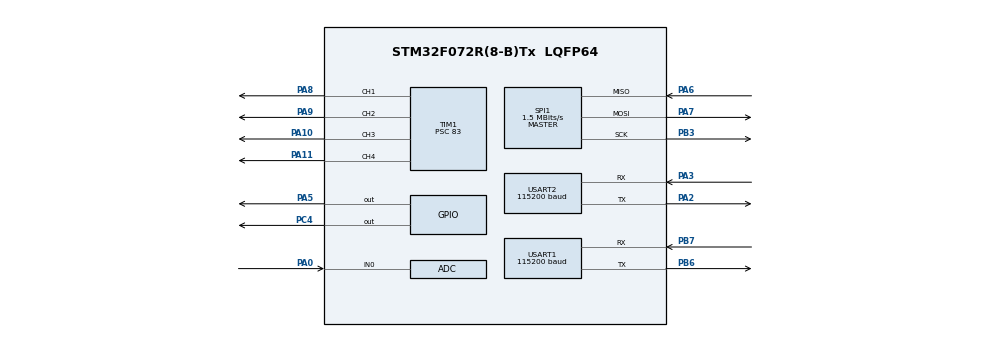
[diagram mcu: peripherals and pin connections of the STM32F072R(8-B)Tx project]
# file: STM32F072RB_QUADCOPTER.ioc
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ADC.SamplingTime=ADC_SAMPLETIME_239CYCLES_5
Mcu.Family=STM32F0
Mcu.Name=STM32F072R(8-B)Tx
Mcu.Package=LQFP64
NVIC.TIM3_IRQn=true\:0\:0\:false\:false\:true\:true\:true\:true
NVIC.USART1_IRQn=true\:0\:0\:false\:false\:true\:true\:true\:true
NVIC.USART2_IRQn=true\:0\:0\:false\:false\:true\:true\:true\:true
PA0.Mode=IN0
PA0.Signal=ADC_IN0
PA10.Signal=S_TIM1_CH3
PA11.Signal=S_TIM1_CH4
PA13.Mode=Serial_Wire
PA13.Signal=SYS_SWDIO
PA14.Mode=Serial_Wire
PA14.Signal=SYS_SWCLK
PA2.Mode=Asynchronous
PA2.Signal=USART2_TX
PA3.Mode=Asynchronous
PA3.Signal=USART2_RX
PA5.Signal=GPIO_Output
PA6.Mode=Full_Duplex_Master
PA6.Signal=SPI1_MISO
PA7.Mode=Full_Duplex_Master
PA7.Signal=SPI1_MOSI
PA8.Signal=S_TIM1_CH1
PA9.Signal=S_TIM1_CH2
PB3.Mode=Full_Duplex_Master
PB3.Signal=SPI1_SCK
PB6.Mode=Asynchronous
PB6.Signal=USART1_TX
PB7.Mode=Asynchronous
PB7.Signal=USART1_RX
PB8.Signal=I2C1_SCL
PB9.Signal=I2C1_SDA
PC4.Signal=GPIO_Output
PF0-OSC_IN.Mode=HSE-External-Oscillator
PF0-OSC_IN.Signal=RCC_OSC_IN
PF1-OSC_OUT.Mode=HSE-External-Oscillator
PF1-OSC_OUT.Signal=RCC_OSC_OUT
ProjectManager.HeapSize=0x200
ProjectManager.StackSize=0x400
ProjectManager.TargetToolchain=STM32CubeIDE
RCC.AHBFreq_Value=48000000
RCC.APB1Freq_Value=48000000
RCC.APB1TimFreq_Value=48000000
RCC.FLatency-AdvancedSettings=FLASH_LATENCY_1
RCC.HCLKFreq_Value=48000000
RCC.PLLDivider=RCC_PREDIV_DIV2
RCC.PLLMUL=RCC_PLL_MUL12
RCC.PREFETCH_ENABLE-AdvancedSettings=1
RCC.SYSCLKFreq_VALUE=48000000
RCC.SYSCLKSource=RCC_SYSCLKSOURCE_HSI48
SH.S_TIM1_CH1.0=TIM1_CH1,PWM Generation1 CH1
SH.S_TIM1_CH2.0=TIM1_CH2,PWM Generation2 CH2
SH.S_TIM1_CH3.0=TIM1_CH3,PWM Generation3 CH3
SH.S_TIM1_CH4.0=TIM1_CH4,PWM Generation4 CH4
SPI1.BaudRatePrescaler=SPI_BAUDRATEPRESCALER_32
SPI1.CLKPhase=SPI_PHASE_2EDGE
SPI1.CLKPolarity=SPI_POLARITY_HIGH
SPI1.CalculateBaudRate=1.5 MBits/s
SPI1.DataSize=SPI_DATASIZE_8BIT
SPI1.Direction=SPI_DIRECTION_2LINES
SPI1.Mode=SPI_MODE_MASTER
SPI1.VirtualType=VM_MASTER
TIM1.Channel-PWM\ Generation1\ CH1=TIM_CHANNEL_1
TIM1.Channel-PWM\ Generation2\ CH2=TIM_CHANNEL_2
TIM1.Channel-PWM\ Generation3\ CH3=TIM_CHANNEL_3
TIM1.Channel-PWM\ Generation4\ CH4=TIM_CHANNEL_4
TIM1.Prescaler=83
TIM3.Period=65535-1
TIM3.Prescaler=84-1
USART1.BaudRate=115200
USART1.VirtualMode-Asynchronous=VM_ASYNC
USART2.BaudRate=115200
USART2.VirtualMode-Asynchronous=VM_ASYNC
VP_TIM3_VS_ClockSourceINT.Mode=Internal
board=NUCLEO-F072RB

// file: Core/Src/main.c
/* USER CODE BEGIN Header */
/**
  ******************************************************************************
  * @file           : main.c
  * @brief          : Main program body
  ******************************************************************************
  * @attention
  *
  * Copyright (c) 2022 STMicroelectronics.
  * All rights reserved.
  *
  * This software is licensed under terms that can be found in the LICENSE file
  * in the root directory of this software component.
  * If no LICENSE file comes with this software, it is provided AS-IS.
  *
  ******************************************************************************
  */
/* USER CODE END Header */
#include "main.h"

/* USER CODE BEGIN Includes */
#include "stm32f0xx_hal.h"
#include "usart.h"
#include <stdbool.h>
#include<stdio.h>
#include <string.h>
#include "stdlib.h"
#include "hardware.h"
#include "IMU_Sensor/MahonyAHRS.h"
#include "IMU_Sensor/acc_gyro_calc.h"
#include "math.h"
#include "FS_IA6B_ibus/FS-IA6B_ibus.h"
#include "calculated_pwm.h"
#include "pid.h"

/* USER CODE END Includes */

/* USER CODE BEGIN PV */

/* Defines */
#define IBUS_USER_CHANNELS		6		// Use 6 channels
#define IBUS_LENGTH				0x20	// 32 bytes
#define IBUS_COMMAND40			0x40	// Command to set servo or motor speed is always 0x40
#define IBUS_MAX_CHANNLES		14
#define IBUS_USER_CHANNELS	6
#define GYRO_SIZE 3
/* Defines */

/* USER CODE END PV */
int initialize=0;
uint8_t rxBuf[32]; // fs-ia10b
uint16_t ibus_data_channels[IBUS_USER_CHANNELS];

float Yaw_Pitch_Roll[GYRO_SIZE];
float gyro_XYZ[GYRO_SIZE];
char str[16];
float initial_yaw,initial_pitch,initial_roll;
int start=0;
uint16_t motor[4];
int throttle;
float desired_Yaw_Pitch_Roll[3];
float roll_input;
float pitch_input;
float yaw_input;

int reset=0;

PIDController pidRoll, pidPitch, pidYaw;

float Proportional_Roll = 1.68;
float Integral_Roll = 0;
float  Derivative_Roll = 15;
float Proportional_Pitch = 1.68;
float Integral_Pitch = 0;
float  Derivative_Pitch = 15;
float Proportional_Yaw = 1.68;
float Integral_Yaw =0;//
float Derivative_Yaw = 15;
float input_yaw;
float input_pitch;
float input_roll;
float desired_yaw_pitch_roll_angle[3];
float gyro_XYZ[GYRO_SIZE];
float min_pitch=0.0;
float battery_voltaj;

/* USER CODE BEGIN PFP */
float read_battery_voltaj();
void desired_yaw_pitch_roll(float* desired_yaw_pitch_roll);
float Mapping(float x,float in_min,float in_max,float out_min,float out_max);
float read_voltaj();

/* USER CODE END PFP */

int main(void)
{

  /* MCU Configuration--------------------------------------------------------*/

  /* Reset of all peripherals, Initializes the Flash interface and the Systick. */
  HAL_Init();

  /* Configure the system clock */
  SystemClock_Config();

  /* Initialize all configured peripherals */
  MX_GPIO_Init();
  MX_ADC_Init();
  MX_TIM1_Init();
  MX_USART2_UART_Init();
  MX_SPI1_Init();
  MX_TIM3_Init();
  MX_USART1_UART_Init();
  /* USER CODE BEGIN 2 */

  HAL_UART_Receive_IT(&huart1, rxBuf, 32);

  HAL_TIM_PWM_Start(&htim1,TIM_CHANNEL_1);
  HAL_TIM_PWM_Start(&htim1,TIM_CHANNEL_2);
  HAL_TIM_PWM_Start(&htim1,TIM_CHANNEL_3);
  HAL_TIM_PWM_Start(&htim1,TIM_CHANNEL_4);
  PID_Init(&pidRoll, Proportional_Roll, Integral_Roll, Derivative_Roll);
  PID_Init(&pidPitch, Proportional_Pitch, Integral_Pitch, Derivative_Pitch);
  PID_Init(&pidYaw, Proportional_Yaw, Integral_Yaw, Derivative_Yaw);

  //HAL_TIM_IC_Start_IT(&htim2,TIM_CHANNEL_1);

  /* USER CODE END 2 */

  /* Infinite loop */
  while (1)
  {

    /* USER CODE BEGIN 3 */

	  HAL_GPIO_WritePin(GPIOA, GPIO_PIN_5, GPIO_PIN_SET);

	  if(start==0)
	  {
		  __HAL_TIM_SetCompare(&htim1,TIM_CHANNEL_1,0);
		  __HAL_TIM_SetCompare(&htim1,TIM_CHANNEL_2,0);
		  __HAL_TIM_SetCompare(&htim1,TIM_CHANNEL_3,0);
		  __HAL_TIM_SetCompare(&htim1,TIM_CHANNEL_4,0);

		  for(int i=0;i<=3;i++)
		  {
			  HAL_GPIO_WritePin(GPIOA, GPIO_PIN_5, GPIO_PIN_SET);
			  HAL_Delay(100);
			  HAL_GPIO_WritePin(GPIOA, GPIO_PIN_5, GPIO_PIN_RESET);
			  HAL_Delay(100);
		  }

		  IbusData(ibus_data_channels,IBUS_USER_CHANNELS,rxBuf);
		  //if(ibus_data_channels[2]==0) NVIC_SystemReset();
		  if(ibus_data_channels[2]>=1000 && ibus_data_channels[2]<=2000) start=1;

	  }

	  if(rxBuf[14]==232 && initialize==0)
	  {
		  get_yaw_pitch_roll(Yaw_Pitch_Roll,gyro_XYZ, GYRO_SIZE);
		  initial_yaw=Yaw_Pitch_Roll[0];
		  initial_pitch=Yaw_Pitch_Roll[1];
		  initial_roll=Yaw_Pitch_Roll[2];
		  start=1;
	  }

	  else
	  {
		  IbusData(ibus_data_channels,IBUS_USER_CHANNELS,rxBuf);
		  throttle=ibus_data_channels[2];
		  get_yaw_pitch_roll(Yaw_Pitch_Roll,gyro_XYZ, GYRO_SIZE);

		  Yaw_Pitch_Roll[0]=Yaw_Pitch_Roll[0]-initial_yaw;
		  Yaw_Pitch_Roll[1]=Yaw_Pitch_Roll[1]-initial_pitch;
		  Yaw_Pitch_Roll[2]=Yaw_Pitch_Roll[2]-initial_roll;

		  desired_yaw_pitch_roll(desired_yaw_pitch_roll_angle);

		  pidRoll.setpoint=desired_yaw_pitch_roll_angle[2];
		  pidPitch.setpoint=desired_yaw_pitch_roll_angle[1];
		  pidYaw.setpoint=desired_yaw_pitch_roll_angle[0];

		  float rollOutput = PID_Compute(&pidRoll,pidRoll.setpoint,Yaw_Pitch_Roll[2]);
		  float pitchOutput = PID_Compute(&pidPitch, pidPitch.setpoint, Yaw_Pitch_Roll[1]);
		  float yawOutput = PID_Compute(&pidYaw,  pidYaw.setpoint, Yaw_Pitch_Roll[0]);

		  yaw_input=Yaw_Pitch_Roll[0];
		  pitch_input=Yaw_Pitch_Roll[1];
		  roll_input=Yaw_Pitch_Roll[2];
		  start=2;

	  }

	  if (throttle<=1300 && start==2)
	  {
		  motor[0] = throttle;
		  motor[1] = throttle;
		  motor[2] = throttle;
		  motor[3] = throttle;
	  }

	  else if (throttle>1300 && throttle<=2000 && start==2)
	  {
		  motor[0] = throttle - pidPitch.output + pidRoll.output - pidYaw.output; //Calculate the pulse for esc 1 (front-right - CCW)
		  motor[1] = throttle - pidPitch.output - pidRoll.output + pidYaw.output; //Calculate the pulse for esc 2 (rear-right - CW)
		  motor[2] = throttle + pidPitch.output - pidRoll.output - pidYaw.output; //Calculate the pulse for esc 3 (rear-left - CCW)
		  motor[3] = throttle + pidPitch.output + pidRoll.output + pidYaw.output; //Calculate the pulse for esc 4 (front-left - CW)

	  }

	  if (motor[0]<1000 || motor[0]>2200) motor[0]=1000;
	  if (motor[1]<1000 || motor[1]>2200) motor[1]=1000;
	  if (motor[2]<1000 || motor[2]>2200) motor[2]=1000;
	  if (motor[3]<1000 || motor[3]>2200) motor[3]=1000;

	  if ((motor[0]>2000) && (motor[0]<=2200)) motor[0]=2000;
	  if ((motor[1]>2000) && (motor[0]<=2200)) motor[1]=2000;
	  if ((motor[2]>2000) && (motor[0]<=2200)) motor[2]=2000;
	  if ((motor[3]>2000) && (motor[0]<=2200)) motor[3]=2000;

	  __HAL_TIM_SetCompare(&htim1,TIM_CHANNEL_1,motor[0]);
	  __HAL_TIM_SetCompare(&htim1,TIM_CHANNEL_2,motor[1]);
	  __HAL_TIM_SetCompare(&htim1,TIM_CHANNEL_3,motor[2]);
	  __HAL_TIM_SetCompare(&htim1,TIM_CHANNEL_4,motor[3]);
	  IbusData(ibus_data_channels,IBUS_USER_CHANNELS,rxBuf);
	  HAL_UART_Transmit(&huart2, (uint8_t *)str, sprintf(str, "%1.f\t",Yaw_Pitch_Roll[0] ), 0xFFFF);
	  HAL_UART_Transmit(&huart2, (uint8_t *)str, sprintf(str, "%1.f\t", Yaw_Pitch_Roll[1]), 0xFFFF);
	  HAL_UART_Transmit(&huart2, (uint8_t *)str, sprintf(str, "%1.f\t\n",Yaw_Pitch_Roll[2] ), 0xFFFF);
      battery_voltaj=read_voltaj();

	 HAL_Delay(10);

  }
  /* USER CODE END 3 */
}

/* USER CODE BEGIN 4 */

float read_voltaj()
{
	uint16_t adc_v;
	float R1=5.0;
	int R2=1.0;
	float battery;
	HAL_ADC_Start(&hadc); // ADC'yi start et pointer ile çagır.
	if (HAL_ADC_PollForConversion(&hadc,20)==HAL_OK)  // HAL_ADC_PollForConversion kullanman gerekecek
	{
		adc_v=HAL_ADC_GetValue(&hadc);
		/*HAL_UART_Transmit(&huart2, (uint8_t *)str, sprintf(str, "%d-", adc_v), 0xFFFF);
		HAL_UART_Transmit(&huart2, (uint8_t *)str, sprintf(str, "%d \n\r", adc_v/2), 0xFFFF);*/
	}

	HAL_ADC_Stop(&hadc); // ADC'yi start et pointer ile çagır.
	battery=(((float)adc_v)/4096)*3.3;
	battery=battery/(R2/(R1+R2))+0.1;
	return battery;
}

float Mapping(float x,float in_min,float in_max,float out_min,float out_max)
{
	float y;
	y=(x-in_min)*(out_max - out_min)/ (in_max - in_min) + out_min;
	return y;
}

void desired_yaw_pitch_roll(float* desired_yaw_pitch_roll)
{
	IbusData(ibus_data_channels,IBUS_USER_CHANNELS,rxBuf);
	  if (ibus_data_channels[0]<1500)
		  desired_yaw_pitch_roll[2]=Mapping(ibus_data_channels[0], 1000, 1500, -3, 0);
	  else if (ibus_data_channels[0]>=1500 && ibus_data_channels[0]<2000)
		  desired_yaw_pitch_roll[2]=Mapping(ibus_data_channels[0], 1501, 2000, 0, 3);

	  if (ibus_data_channels[1]<1500)
		  desired_yaw_pitch_roll[1]=Mapping(ibus_data_channels[1], 1000, 1500, -3, 0);
	  else if (ibus_data_channels[1]>=1500 && ibus_data_channels[1]<2000)
		  desired_yaw_pitch_roll[1]=Mapping(ibus_data_channels[1], 1500, 2000, 0, 3);

	  if (ibus_data_channels[3]<1500)
		  desired_yaw_pitch_roll[0]=Mapping(ibus_data_channels[3], 1000, 1500, -360, 0);
	  else if (ibus_data_channels[3]>=1500 && ibus_data_channels[3]<2000)
		  desired_yaw_pitch_roll[0]=Mapping(ibus_data_channels[3], 1500, 2000, 0, 360);
}

__weak void HAL_TIM_IC_CaptureCallback(TIM_HandleTypeDef *htim)
{
  /* Prevent unused argument(s) compilation warning */

  __HAL_TIM_SET_COUNTER(&htim2,0);

  /* NOTE : This function should not be modified, when the callback is needed,
            the HAL_TIM_IC_CaptureCallback could be implemented in the user file
   */
}

void HAL_UART_RxCpltCallback(UART_HandleTypeDef *huart)
{
	if(huart==&huart1)
	{
		HAL_UART_Receive_IT(&huart1, rxBuf, 32);
	}

}

/* USER CODE END 4 */

void Error_Handler(void)
{
  __disable_irq();
  while (1)
  {
  }
}
